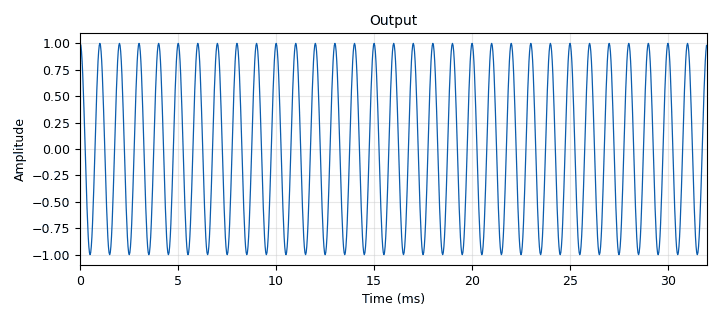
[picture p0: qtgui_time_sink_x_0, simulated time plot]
options:
  parameters:
    author: raksh
    generate_options: qt_gui
    id: SigGen
    output_language: python
    title: Not titled yet
  states: {}

blocks:
- name: ChooseWaveform
  id: variable_qtgui_chooser
  parameters:
    label0: Cosine
    label1: Exponential
    label2: Square
    label3: Ramp
    label4: Impulse
    labels: '["Cosine", "Sine", "Step", "Sawtooth", "Ramp", "Exp", "Square", "Impulse", "Linear"]'
    num_opts: '5'
    option0: '0'
    option1: '1'
    option2: '2'
    option3: '3'
    option4: '4'
    options: '[0, 1, 2, 3, 4, 5, 6, 7]'
    orient: Qt.QHBoxLayout
    type: int
    value: '0'
    widget: radio_buttons
  states: {}
- name: samp_rate
  id: variable
  parameters:
    value: '32000'
  states: {}
- name: analog_sig_source_x_0
  id: analog_sig_source_x
  parameters:
    amp: '1'
    freq: '1000'
    offset: '0'
    phase: '0'
    samp_rate: samp_rate
    type: float
    waveform: analog.GR_COS_WAVE
  states: {}
- name: analog_sig_source_x_0_0_0
  id: analog_sig_source_x
  parameters:
    amp: '0.5'
    freq: '1000'
    offset: '0.5'
    phase: '0'
    samp_rate: samp_rate
    type: float
    waveform: analog.GR_SQR_WAVE
  states: {}
- name: analog_sig_source_x_0_2
  id: analog_sig_source_x
  parameters:
    amp: '1'
    freq: '100'
    offset: '0'
    phase: '0'
    samp_rate: samp_rate
    type: float
    waveform: analog.GR_SAW_WAVE
  states: {}
- name: blocks_selector_0
  id: blocks_selector
  parameters:
    enabled: 'True'
    input_index: ChooseWaveform
    num_inputs: '5'
    num_outputs: '1'
    output_index: '0'
    type: float
  states: {}
- name: blocks_throttle2_0
  id: blocks_throttle2
  parameters:
    samples_per_second: samp_rate
    type: float
  states: {}
- name: blocks_throttle2_0_0
  id: blocks_throttle2
  parameters:
    samples_per_second: samp_rate
    type: float
  states: {}
- name: blocks_throttle2_0_1
  id: blocks_throttle2
  parameters:
    samples_per_second: samp_rate
    type: float
  states: {}
- name: blocks_throttle2_0_2
  id: blocks_throttle2
  parameters:
    samples_per_second: samp_rate
    type: float
  states: {}
- name: blocks_throttle2_0_3
  id: blocks_throttle2
  parameters:
    samples_per_second: samp_rate
    type: float
  states: {}
- name: blocks_vector_source_x_0
  id: blocks_vector_source_x
  parameters:
    repeat: 'True'
    type: float
    vector: '[1 + (x/100.0) + (x/100.0)**2/2 + (x/100.0)**3/6 for x in range(100)]'
  states: {}
- name: blocks_vector_source_x_0_0
  id: blocks_vector_source_x
  parameters:
    repeat: 'True'
    type: float
    vector: ' [1] + [0]*1000'
  states: {}
- name: qtgui_time_sink_x_0
  id: qtgui_time_sink_x
  parameters:
    autoscale: 'True'
    name: '"Output"'
    size: '1024'
    srate: samp_rate
    type: float
  states: {}

connections:
- [analog_sig_source_x_0, '0', blocks_throttle2_0, '0']
- [analog_sig_source_x_0_0_0, '0', blocks_throttle2_0_1, '0']
- [analog_sig_source_x_0_2, '0', blocks_throttle2_0_2, '0']
- [blocks_selector_0, '0', qtgui_time_sink_x_0, '0']
- [blocks_throttle2_0, '0', blocks_selector_0, '0']
- [blocks_throttle2_0_0, '0', blocks_selector_0, '1']
- [blocks_throttle2_0_1, '0', blocks_selector_0, '2']
- [blocks_throttle2_0_2, '0', blocks_selector_0, '3']
- [blocks_throttle2_0_3, '0', blocks_selector_0, '4']
- [blocks_vector_source_x_0, '0', blocks_throttle2_0_0, '0']
- [blocks_vector_source_x_0_0, '0', blocks_throttle2_0_3, '0']

metadata:
  file_format: 1
  grc_version: 3.10.11.0
